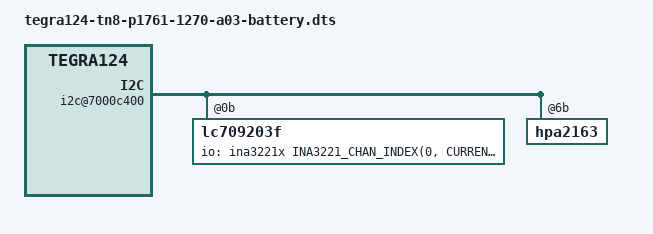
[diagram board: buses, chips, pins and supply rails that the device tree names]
/*
 * Need this file to avoid OTA issue.
 */
#include "tegra124-tn8-p1761-1270-a03.dts"
#include "tegra124-platforms/tegra124-tn8-usb-devices.dtsi"
#include <dt-bindings/iio/meter/ina3221x.h>

/ {
	nvidia,dtsfilename = __FILE__;

	i2c@7000c400 {
		lc709203f@0b {
			status = "okay";
			onsemi,kernel-threshold-soc = <2>;
			onsemi,kernel-maximum-soc = <99>;
			io-channels = <&ina3221x INA3221_CHAN_INDEX(0, CURRENT, NORMAL)>;
			io-channel-names = "battery-current";
		};

		hpa2163@6b {
			charger {
				status = "okay";
				ti,charge-voltage-limit-millivolt = <4352>;
				ti,temp-range = <10 15 25 45 60>;
				ti,charge-thermal-voltage-limit = <4352 4352 4352 4352 4200>;
				ti,charge-current-limit = <1040 1040 2600 5200 2600>;
				ti,soc-range = <50 60 70 80 85 90 95 101>;
				ti,input-voltage-soc-limit = <4200 4280 4360 4440 4520 4600 4680 4760>;
				ti,charge-term-current-limit-milliamp = <1>;
			};
		};
	};

	usb-devices {
		maxim-charger {
			maxim,max-board-vbus-voltage-uv = <12000000>;
		};
	};
};
